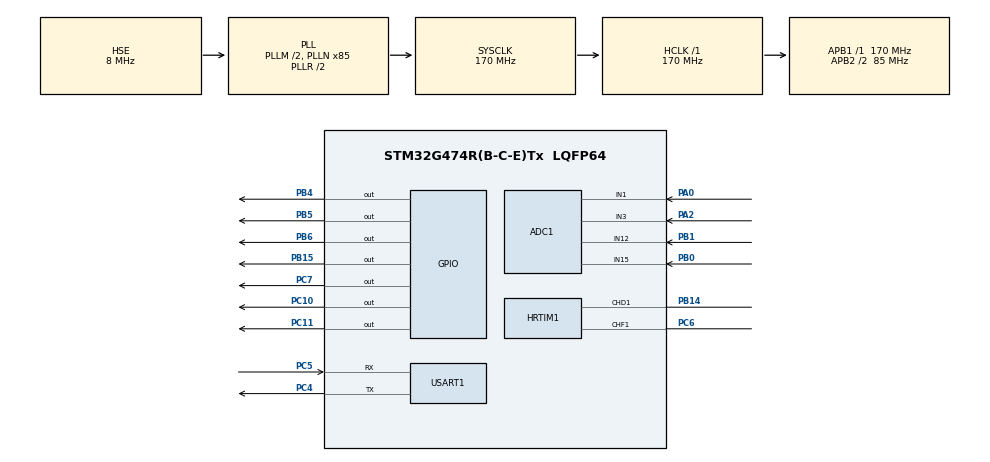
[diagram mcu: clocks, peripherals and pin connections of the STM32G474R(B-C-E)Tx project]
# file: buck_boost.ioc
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ADC1.Channel-3\#ChannelRegularConversion=ADC_CHANNEL_1
ADC1.Channel-4\#ChannelRegularConversion=ADC_CHANNEL_3
ADC1.Channel-5\#ChannelRegularConversion=ADC_CHANNEL_12
ADC1.Channel-6\#ChannelRegularConversion=ADC_CHANNEL_15
ADC1.ClockPrescaler=ADC_CLOCK_SYNC_PCLK_DIV4
ADC1.ContinuousConvMode=DISABLE
ADC1.DMAContinuousRequests=ENABLE
ADC1.DiscontinuousConvMode=DISABLE
ADC1.ExternalTrigConv=ADC_EXTERNALTRIG_T3_TRGO
ADC1.NbrOfConversion=4
ADC1.NbrOfConversionFlag=1
ADC1.OffsetNumber-3\#ChannelRegularConversion=ADC_OFFSET_NONE
ADC1.OffsetNumber-4\#ChannelRegularConversion=ADC_OFFSET_NONE
ADC1.OffsetNumber-5\#ChannelRegularConversion=ADC_OFFSET_NONE
ADC1.OffsetNumber-6\#ChannelRegularConversion=ADC_OFFSET_NONE
ADC1.Rank-3\#ChannelRegularConversion=1
ADC1.Rank-4\#ChannelRegularConversion=2
ADC1.Rank-5\#ChannelRegularConversion=3
ADC1.Rank-6\#ChannelRegularConversion=4
ADC1.SamplingTime-3\#ChannelRegularConversion=ADC_SAMPLETIME_47CYCLES_5
ADC1.SamplingTime-4\#ChannelRegularConversion=ADC_SAMPLETIME_47CYCLES_5
ADC1.SamplingTime-5\#ChannelRegularConversion=ADC_SAMPLETIME_47CYCLES_5
ADC1.SamplingTime-6\#ChannelRegularConversion=ADC_SAMPLETIME_47CYCLES_5
ADC1.master=1
Dma.ADC1.0.Direction=DMA_PERIPH_TO_MEMORY
Dma.ADC1.0.EventEnable=DISABLE
Dma.ADC1.0.Instance=DMA1_Channel1
Dma.ADC1.0.MemDataAlignment=DMA_MDATAALIGN_HALFWORD
Dma.ADC1.0.MemInc=DMA_MINC_ENABLE
Dma.ADC1.0.Mode=DMA_CIRCULAR
Dma.ADC1.0.PeriphDataAlignment=DMA_PDATAALIGN_HALFWORD
Dma.ADC1.0.PeriphInc=DMA_PINC_DISABLE
Dma.ADC1.0.Polarity=HAL_DMAMUX_REQ_GEN_RISING
Dma.ADC1.0.Priority=DMA_PRIORITY_HIGH
Dma.ADC1.0.RequestNumber=1
Dma.ADC1.0.SignalID=NONE
Dma.ADC1.0.SyncEnable=DISABLE
Dma.ADC1.0.SyncPolarity=HAL_DMAMUX_SYNC_NO_EVENT
Dma.ADC1.0.SyncRequestNumber=1
Dma.ADC1.0.SyncSignalID=NONE
Dma.Request0=ADC1
Dma.Request1=USART1_TX
Dma.USART1_TX.1.Direction=DMA_MEMORY_TO_PERIPH
Dma.USART1_TX.1.EventEnable=DISABLE
Dma.USART1_TX.1.Instance=DMA1_Channel2
Dma.USART1_TX.1.MemDataAlignment=DMA_MDATAALIGN_BYTE
Dma.USART1_TX.1.MemInc=DMA_MINC_ENABLE
Dma.USART1_TX.1.Mode=DMA_CIRCULAR
Dma.USART1_TX.1.PeriphDataAlignment=DMA_PDATAALIGN_BYTE
Dma.USART1_TX.1.PeriphInc=DMA_PINC_DISABLE
Dma.USART1_TX.1.Polarity=HAL_DMAMUX_REQ_GEN_RISING
Dma.USART1_TX.1.Priority=DMA_PRIORITY_LOW
Dma.USART1_TX.1.RequestNumber=1
Dma.USART1_TX.1.SignalID=NONE
Dma.USART1_TX.1.SyncEnable=DISABLE
Dma.USART1_TX.1.SyncPolarity=HAL_DMAMUX_SYNC_NO_EVENT
Dma.USART1_TX.1.SyncRequestNumber=1
Dma.USART1_TX.1.SyncSignalID=NONE
HRTIM1.CompareUnit1-MasterTimer=__NULL
HRTIM1.CompareUnit1-Output_TD1=HRTIM_COMPAREUNIT_1
HRTIM1.CompareUnit1-Output_TF1=HRTIM_COMPAREUNIT_1
HRTIM1.CompareValue1-Output_TD1=3000
HRTIM1.CompareValue1-Output_TF1=25000
HRTIM1.NumberInterruptRequests_Master-MasterTimer=0
HRTIM1.NumberResetSource1-Output_TD1=1
HRTIM1.NumberResetSource1-Output_TF1=1
HRTIM1.NumberResetTrigger-Output_TD1=1
HRTIM1.NumberResetTrigger-Output_TF1=1
HRTIM1.NumberSetSource1-Output_TD1=1
HRTIM1.NumberSetSource1-Output_TF1=1
HRTIM1.Periode_MASTER=42500
HRTIM1.Periode_TD=54400
HRTIM1.Periode_TF=54400
HRTIM1.Polarity1-Output_TD1=HRTIM_OUTPUTPOLARITY_LOW
HRTIM1.Polarity1-Output_TF1=HRTIM_OUTPUTPOLARITY_HIGH
HRTIM1.PreloadEnable-MasterTimer=HRTIM_PRELOAD_ENABLED
HRTIM1.PreloadEnable-Output_TD1=HRTIM_PRELOAD_ENABLED
HRTIM1.PreloadEnable-Output_TF1=HRTIM_PRELOAD_ENABLED
HRTIM1.PrescalerRatio_MASTER=HRTIM_PRESCALERRATIO_DIV4
HRTIM1.PrescalerRatio_TD=HRTIM_PRESCALERRATIO_MUL2
HRTIM1.PrescalerRatio_TF=HRTIM_PRESCALERRATIO_MUL16
HRTIM1.RepetitionUpdate-MasterTimer=HRTIM_UPDATEONREPETITION_ENABLED
HRTIM1.RepetitionUpdate-Output_TD1=HRTIM_UPDATEONREPETITION_ENABLED
HRTIM1.RepetitionUpdate-Output_TF1=HRTIM_UPDATEONREPETITION_ENABLED
HRTIM1.ResetOutput1_Source1-Output_TD1=HRTIM_OUTPUTRESET_TIMCMP1
HRTIM1.ResetOutput1_Source1-Output_TF1=HRTIM_OUTPUTRESET_TIMCMP1
HRTIM1.ResetTrigger1-Output_TD1=HRTIM_TIMRESETTRIGGER_MASTER_PER
HRTIM1.ResetTrigger1-Output_TF1=HRTIM_TIMRESETTRIGGER_MASTER_PER
HRTIM1.SetOutput1_Source1-Output_TD1=HRTIM_OUTPUTSET_TIMPER
HRTIM1.SetOutput1_Source1-Output_TF1=HRTIM_OUTPUTSET_TIMPER
HRTIM1.SyncInputSource=HRTIM_SYNCINPUTSOURCE_INTERNALEVENT
HRTIM1.SyncOptions=HRTIM_SYNCOPTION_SLAVE
Mcu.Family=STM32G4
Mcu.Name=STM32G474R(B-C-E)Tx
Mcu.Package=LQFP64
NVIC.DMA1_Channel1_IRQn=true\:0\:0\:false\:false\:true\:false\:true\:true
NVIC.DMA1_Channel2_IRQn=true\:0\:0\:false\:false\:true\:false\:true\:true
NVIC.HRTIM1_Master_IRQn=true\:0\:0\:false\:false\:true\:true\:true\:true
NVIC.PriorityGroup=NVIC_PRIORITYGROUP_4
NVIC.TIM2_IRQn=true\:0\:0\:true\:false\:true\:true\:true\:true
NVIC.TIM3_IRQn=true\:0\:0\:false\:false\:true\:true\:true\:true
PA0.Mode=IN1-Single-Ended
PA0.Signal=ADC1_IN1
PA13.Mode=Serial_Wire
PA13.Signal=SYS_JTMS-SWDIO
PA14.Mode=Serial_Wire
PA14.Signal=SYS_JTCK-SWCLK
PA2.Mode=IN3-Single-Ended
PA2.Signal=ADC1_IN3
PB0.Mode=IN15-Single-Ended
PB0.Signal=ADC1_IN15
PB1.Mode=IN12-Single-Ended
PB1.Signal=ADC1_IN12
PB14.Mode=Output_TD1
PB14.Signal=HRTIM1_CHD1
PB15.Signal=GPIO_Output
PB4.GPIO_ModeDefaultOutputPP=GPIO_MODE_OUTPUT_PP
PB4.GPIO_PuPd=GPIO_NOPULL
PB4.GPIO_Speed=GPIO_SPEED_FREQ_HIGH
PB4.PinState=GPIO_PIN_RESET
PB4.Signal=GPIO_Output
PB5.GPIO_PuPd=GPIO_NOPULL
PB5.GPIO_Speed=GPIO_SPEED_FREQ_HIGH
PB5.PinState=GPIO_PIN_RESET
PB5.Signal=GPIO_Output
PB6.GPIO_PuPd=GPIO_NOPULL
PB6.GPIO_Speed=GPIO_SPEED_FREQ_HIGH
PB6.PinState=GPIO_PIN_RESET
PB6.Signal=GPIO_Output
PC10.GPIO_Speed=GPIO_SPEED_FREQ_HIGH
PC10.PinState=GPIO_PIN_SET
PC10.Signal=GPIO_Output
PC11.GPIO_ModeDefaultOutputPP=GPIO_MODE_OUTPUT_PP
PC11.GPIO_Speed=GPIO_SPEED_FREQ_HIGH
PC11.PinState=GPIO_PIN_SET
PC11.Signal=GPIO_Output
PC4.Mode=Asynchronous
PC4.Signal=USART1_TX
PC5.Mode=Asynchronous
PC5.Signal=USART1_RX
PC6.Mode=Output_TF1
PC6.Signal=HRTIM1_CHF1
PC7.Signal=GPIO_Output
PF0-OSC_IN.Mode=HSE-External-Oscillator
PF0-OSC_IN.Signal=RCC_OSC_IN
PF1-OSC_OUT.Mode=HSE-External-Oscillator
PF1-OSC_OUT.Signal=RCC_OSC_OUT
ProjectManager.HeapSize=0x200
ProjectManager.StackSize=0x400
ProjectManager.TargetToolchain=STM32CubeIDE
RCC.ADC12Freq_Value=170000000
RCC.ADC345Freq_Value=170000000
RCC.AHBFreq_Value=170000000
RCC.APB1Freq_Value=170000000
RCC.APB1TimFreq_Value=170000000
RCC.APB2CLKDivider=RCC_HCLK_DIV2
RCC.APB2Freq_Value=85000000
RCC.APB2TimFreq_Value=170000000
RCC.CortexFreq_Value=170000000
RCC.EXTERNAL_CLOCK_VALUE=12288000
RCC.HCLKFreq_Value=170000000
RCC.HSE_VALUE=8000000
RCC.HSI48_VALUE=48000000
RCC.HSI_VALUE=16000000
RCC.LSE_VALUE=32768
RCC.PLLM=RCC_PLLM_DIV2
RCC.PLLN=85
RCC.PLLSourceVirtual=RCC_PLLSOURCE_HSE
RCC.SYSCLKFreq_VALUE=170000000
RCC.SYSCLKSource=RCC_SYSCLKSOURCE_PLLCLK
RCC.USBFreq_Value=170000000
RCC.VCOOutputFreq_Value=340000000
TIM2.AutoReloadPreload=TIM_AUTORELOAD_PRELOAD_ENABLE
TIM2.PeriodNoDither=19999
TIM2.Prescaler=16999
TIM2.TIM_MasterOutputTrigger=TIM_TRGO_UPDATE
TIM3.AutoReloadPreload=TIM_AUTORELOAD_PRELOAD_ENABLE
TIM3.PeriodNoDither=199
TIM3.Prescaler=16
TIM3.TIM_MasterOutputTrigger=TIM_TRGO_UPDATE
TIM3.TIM_MasterSlaveMode=TIM_MASTERSLAVEMODE_DISABLE
USART1.VirtualMode-Asynchronous=VM_ASYNC
VP_HRTIM1_VS_hrtimMasterTimerNoOutput.Mode=MasterTimer
VP_SYS_VS_DBSignals.Mode=DisableDeadBatterySignals
VP_TIM2_VS_ClockSourceINT.Mode=Internal
VP_TIM3_VS_ClockSourceINT.Mode=Internal
board=custom

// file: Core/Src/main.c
/* USER CODE BEGIN Header */
/**
  ******************************************************************************
  * @file           : main.c
  * @brief          : Main program body
  ******************************************************************************
  * @attention
  *
  * Copyright (c) 2024 STMicroelectronics.
  * All rights reserved.
  *
  * This software is licensed under terms that can be found in the LICENSE file
  * in the root directory of this software component.
  * If no LICENSE file comes with this software, it is provided AS-IS.
  *
  ******************************************************************************
  */
/* USER CODE END Header */
#include "main.h"
#include "adc.h"
#include "dma.h"
#include "hrtim.h"
#include "tim.h"
#include "usart.h"
#include "gpio.h"

/* USER CODE BEGIN Includes */
#include "stdio.h"
#include "move_filter.h"
#include "pid.h"
#include "OLED.h"
#include "uart_to_printf.h"
/* USER CODE END Includes */

void SystemClock_Config(void);

int main(void)
{

  /* MCU Configuration--------------------------------------------------------*/

  /* Reset of all peripherals, Initializes the Flash interface and the Systick. */
  HAL_Init();

  /* Configure the system clock */
  SystemClock_Config();

  /* Initialize all configured peripherals */
  MX_GPIO_Init();
  MX_DMA_Init();
  MX_ADC1_Init();
  MX_HRTIM1_Init();
  MX_USART1_UART_Init();
  MX_TIM3_Init();
  MX_TIM2_Init();
  /* USER CODE BEGIN 2 */
    //OLED_Init();
    HAL_HRTIM_WaveformCounterStart(&hhrtim1, HRTIM_TIMERID_MASTER);
    HAL_HRTIM_WaveformCounterStart(&hhrtim1, HRTIM_TIMERID_TIMER_F);
    HAL_HRTIM_WaveformOutputStart(&hhrtim1, HRTIM_OUTPUT_TF1);
    HAL_HRTIM_WaveformCounterStart(&hhrtim1, HRTIM_TIMERID_TIMER_D);
    HAL_HRTIM_WaveformOutputStart(&hhrtim1, HRTIM_OUTPUT_TD1);
    HAL_ADCEx_Calibration_Start(&hadc1, ADC_SINGLE_ENDED);//ADC��У��
    HAL_TIM_Base_Start(&htim3);
    HAL_TIM_Base_Start_IT(&htim2);
    HAL_ADC_Start_DMA(&hadc1, (uint32_t *) AD_Value, 4);
    HAL_GPIO_WritePin(GPIOB, GPIO_PIN_15, GPIO_PIN_SET);
    HAL_GPIO_WritePin(GPIOC, GPIO_PIN_7, GPIO_PIN_SET);

    //dcdc_control_init(&buck_control, 0.01f, 0.01f, 0, 45333, (uint16_t) (20.0f / VOUT_ADC_coefficient));
    // dcdc_control_init(&buck_boost_control, 0.01f, 0.01f, 0, 27200, (uint16_t) (20.0f / VOUT_ADC_coefficient));

  /* USER CODE END 2 */

  /* Infinite loop */
    while (1) {

    /* USER CODE BEGIN 3 */

        get_open_circuit_voltage(&mppt);
        printf_data();

    }
  /* USER CODE END 3 */
}

void SystemClock_Config(void)
{
  RCC_OscInitTypeDef RCC_OscInitStruct = {0};
  RCC_ClkInitTypeDef RCC_ClkInitStruct = {0};

  /** Configure the main internal regulator output voltage
  */
  HAL_PWREx_ControlVoltageScaling(PWR_REGULATOR_VOLTAGE_SCALE1_BOOST);

  /** Initializes the RCC Oscillators according to the specified parameters
  * in the RCC_OscInitTypeDef structure.
  */
  RCC_OscInitStruct.OscillatorType = RCC_OSCILLATORTYPE_HSE;
  RCC_OscInitStruct.HSEState = RCC_HSE_ON;
  RCC_OscInitStruct.PLL.PLLState = RCC_PLL_ON;
  RCC_OscInitStruct.PLL.PLLSource = RCC_PLLSOURCE_HSE;
  RCC_OscInitStruct.PLL.PLLM = RCC_PLLM_DIV2;
  RCC_OscInitStruct.PLL.PLLN = 85;
  RCC_OscInitStruct.PLL.PLLP = RCC_PLLP_DIV2;
  RCC_OscInitStruct.PLL.PLLQ = RCC_PLLQ_DIV2;
  RCC_OscInitStruct.PLL.PLLR = RCC_PLLR_DIV2;
  if (HAL_RCC_OscConfig(&RCC_OscInitStruct) != HAL_OK)
  {
    Error_Handler();
  }

  /** Initializes the CPU, AHB and APB buses clocks
  */
  RCC_ClkInitStruct.ClockType = RCC_CLOCKTYPE_HCLK|RCC_CLOCKTYPE_SYSCLK
                              |RCC_CLOCKTYPE_PCLK1|RCC_CLOCKTYPE_PCLK2;
  RCC_ClkInitStruct.SYSCLKSource = RCC_SYSCLKSOURCE_PLLCLK;
  RCC_ClkInitStruct.AHBCLKDivider = RCC_SYSCLK_DIV1;
  RCC_ClkInitStruct.APB1CLKDivider = RCC_HCLK_DIV1;
  RCC_ClkInitStruct.APB2CLKDivider = RCC_HCLK_DIV2;

  if (HAL_RCC_ClockConfig(&RCC_ClkInitStruct, FLASH_LATENCY_4) != HAL_OK)
  {
    Error_Handler();
  }
}

/* USER CODE BEGIN 4 */
void HAL_TIM_PeriodElapsedCallback(TIM_HandleTypeDef *htim) {
    if (htim == (&htim2)) {

        mppt_perturb(&mppt);
    }

}

void HAL_ADC_ConvCpltCallback(ADC_HandleTypeDef *hadc) {

    protect_task();
    mppt_Perturb_and_Observe(&mppt, (const unsigned int *) &VOUT, (const unsigned int *) &Iin,
                             (const unsigned int *) &VIN);
//    if (protect_flag == 0) {
//        Hysteresis_comparator(&buck_control, &buck_boost_control);
//        control_run(&buck_control, &buck_boost_control);
//    }
}
/* USER CODE END 4 */

void Error_Handler(void)
{
    __disable_irq();
    while (1) {
    }
}
